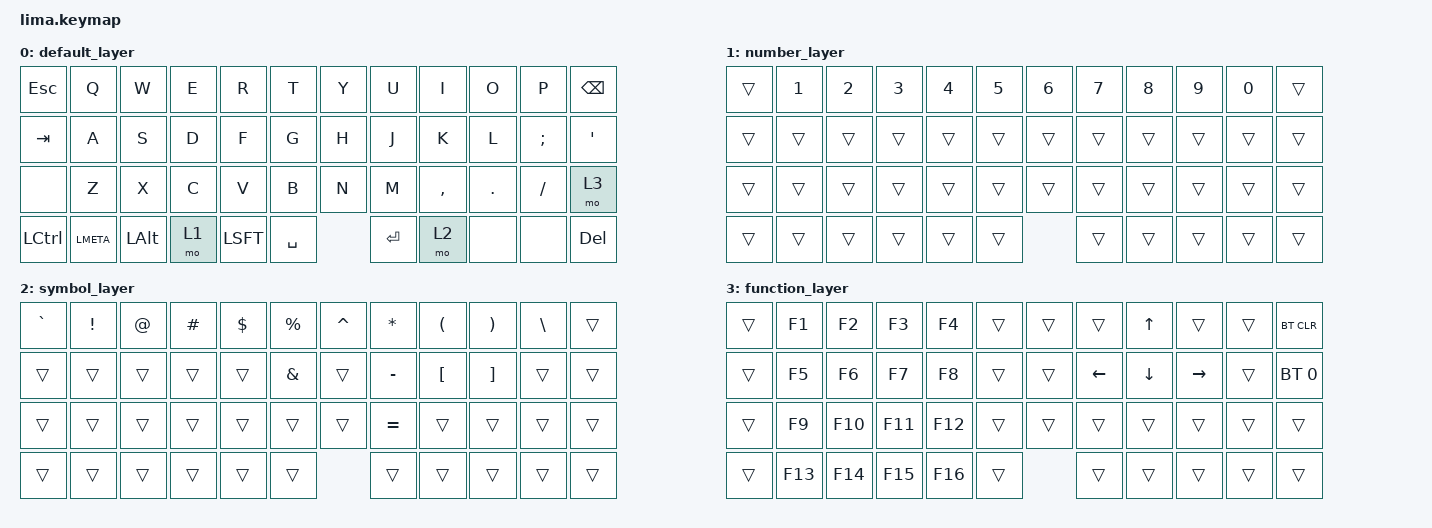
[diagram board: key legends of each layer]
// This file was generated from a template. Edit it to match your keyboard.
// See https://zmk.dev/docs/development/hardware-integration/new-shield for more instructions.

#include <behaviors.dtsi>
#include <dt-bindings/zmk/keys.h>
#include <dt-bindings/zmk/bt.h>
#include <dt-bindings/zmk/outputs.h>

/ {
    // Define a default keymap here.
    // See https://zmk.dev/docs/development/hardware-integration/new-shield#default-keymap.
    keymap {
        compatible = "zmk,keymap";

        // layer {
        //     bindings = <
        //         &trans &trans &trans &trans &trans &trans &trans &trans &trans &trans &trans &trans
        //         &trans &trans &trans &trans &trans &trans &trans &trans &trans &trans &trans &trans
        //         &trans &trans &trans &trans &trans &trans &trans &trans &trans &trans &trans &trans
        //         &trans &trans &trans &trans &trans &trans        &trans &trans &trans &trans &trans
        //     >;
        // };

        default_layer {
            bindings = <
                &kp ESC   &kp Q     &kp W    &kp E &kp R    &kp T     &kp Y     &kp U     &kp I     &kp O   &kp P      &kp BSPC
                &kp TAB   &kp A     &kp S    &kp D &kp F    &kp G     &kp H     &kp J     &kp K     &kp L   &kp SEMI   &kp APOS
                &none     &kp Z     &kp X    &kp C &kp V    &kp B     &kp N     &kp M     &kp COMMA &kp DOT &kp SLASH  &mo 3
                &kp LCTRL &kp LMETA &kp LALT &mo 1 &kp LSFT &kp SPACE           &kp ENTER &mo 2     &none   &none      &kp DEL
            >;
        };

        number_layer {
            bindings = <
                &trans &kp N1 &kp N2 &kp N3 &kp N4 &kp N5 &kp N6 &kp N7 &kp N8 &kp N9 &kp N0 &trans
                &trans &trans &trans &trans &trans &trans &trans &trans &trans &trans &trans &trans
                &trans &trans &trans &trans &trans &trans &trans &trans &trans &trans &trans &trans
                &trans &trans &trans &trans &trans &trans        &trans &trans &trans &trans &trans
            >;
        };

        symbol_layer {
            bindings = <
                &kp GRAVE &kp EXCL &kp AT &kp HASH &kp DLLR &kp PRCNT &kp CARET &kp STAR  &kp LPAR &kp RPAR &kp BSLH &trans
                &trans    &trans   &trans &trans   &trans   &kp AMPS  &trans    &kp MINUS &kp LBKT &kp RBKT &trans   &trans
                &trans    &trans   &trans &trans   &trans   &trans    &trans    &kp EQUAL &trans   &trans   &trans   &trans
                &trans    &trans   &trans &trans   &trans   &trans              &trans    &trans   &trans   &trans   &trans
            >;
        };

        function_layer {
            bindings = <
                &trans &kp F1  &kp F2  &kp F3  &kp F4  &trans &trans &trans   &kp UP   &trans    &trans &bt BT_CLR
                &trans &kp F5  &kp F6  &kp F7  &kp F8  &trans &trans &kp LEFT &kp DOWN &kp RIGHT &trans &bt BT_SEL 0
                &trans &kp F9  &kp F10 &kp F11 &kp F12 &trans &trans &trans   &trans   &trans    &trans &trans
                &trans &kp F13 &kp F14 &kp F15 &kp F16 &trans        &trans   &trans   &trans    &trans &trans
            >;
        };
    };
};

